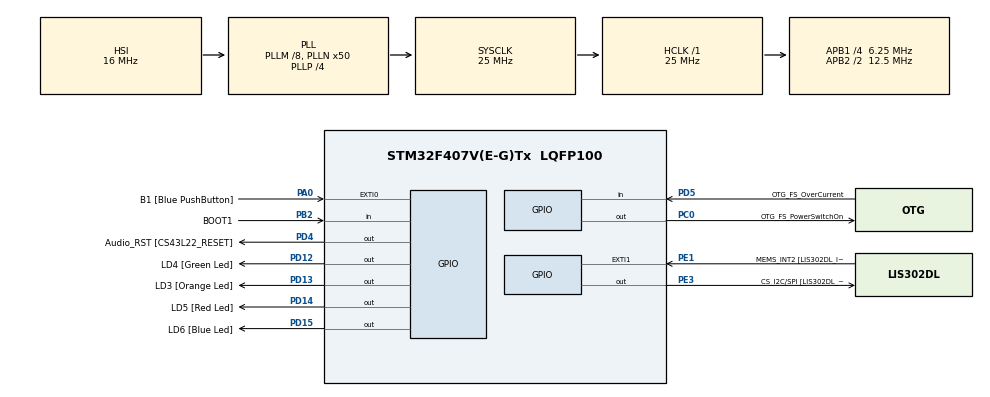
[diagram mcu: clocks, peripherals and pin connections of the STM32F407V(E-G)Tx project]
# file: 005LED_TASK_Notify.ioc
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Mcu.Family=STM32F4
Mcu.Name=STM32F407V(E-G)Tx
Mcu.Package=LQFP100
NVIC.PriorityGroup=NVIC_PRIORITYGROUP_0
NVIC.TIM6_DAC_IRQn=true\:0\:0\:false\:false\:true\:false\:true\:true
NVIC.TimeBase=TIM6_DAC_IRQn
NVIC.TimeBaseIP=TIM6
PA0-WKUP.GPIO_Label=B1 [Blue PushButton]
PA0-WKUP.Signal=GPXTI0
PA10.GPIO_Label=OTG_FS_ID
PA10.GPIO_Mode=GPIO_MODE_AF_PP
PA10.GPIO_PuPd=GPIO_NOPULL
PA10.GPIO_Speed=GPIO_SPEED_FREQ_LOW
PA10.Signal=USB_OTG_FS_ID
PA11.GPIO_Label=OTG_FS_DM
PA11.GPIO_Mode=GPIO_MODE_AF_PP
PA11.GPIO_PuPd=GPIO_NOPULL
PA11.GPIO_Speed=GPIO_SPEED_FREQ_LOW
PA11.Signal=USB_OTG_FS_DM
PA12.GPIO_Label=OTG_FS_DP
PA12.GPIO_Mode=GPIO_MODE_AF_PP
PA12.GPIO_PuPd=GPIO_NOPULL
PA12.GPIO_Speed=GPIO_SPEED_FREQ_LOW
PA12.Signal=USB_OTG_FS_DP
PA13.GPIO_Label=SWDIO
PA13.Signal=SYS_JTMS-SWDIO
PA14.GPIO_Label=SWCLK
PA14.Signal=SYS_JTCK-SWCLK
PA4.GPIO_Label=I2S3_WS [CS43L22_LRCK]
PA4.GPIO_Mode=GPIO_MODE_AF_PP
PA4.GPIO_PuPd=GPIO_NOPULL
PA4.GPIO_Speed=GPIO_SPEED_FREQ_LOW
PA4.Signal=I2S3_WS
PA5.GPIO_Label=SPI1_SCK [LIS302DL_SCL/SPC]
PA5.GPIO_Mode=GPIO_MODE_AF_PP
PA5.GPIO_PuPd=GPIO_NOPULL
PA5.GPIO_Speed=GPIO_SPEED_FREQ_LOW
PA5.Signal=SPI1_SCK
PA6.GPIO_Label=SPI1_MISO [LIS302DL_SDO]
PA6.GPIO_Mode=GPIO_MODE_AF_PP
PA6.GPIO_PuPd=GPIO_NOPULL
PA6.GPIO_Speed=GPIO_SPEED_FREQ_LOW
PA6.Signal=SPI1_MISO
PA7.GPIO_Label=SPI1_MOSI [LIS302DL_SDA/SDI/SDO]
PA7.GPIO_Mode=GPIO_MODE_AF_PP
PA7.GPIO_PuPd=GPIO_NOPULL
PA7.GPIO_Speed=GPIO_SPEED_FREQ_LOW
PA7.Signal=SPI1_MOSI
PA9.GPIO_Label=VBUS_FS
PA9.GPIO_Mode=GPIO_MODE_INPUT
PA9.GPIO_PuPd=GPIO_NOPULL
PA9.Signal=USB_OTG_FS_VBUS
PB10.GPIO_Label=CLK_IN [MP45DT02_CLK]
PB10.GPIO_Mode=GPIO_MODE_AF_PP
PB10.GPIO_PuPd=GPIO_NOPULL
PB10.GPIO_Speed=GPIO_SPEED_FREQ_LOW
PB10.Signal=I2S2_CK
PB2.GPIO_Label=BOOT1
PB2.GPIO_Mode=GPIO_MODE_INPUT
PB2.GPIO_PuPd=GPIO_NOPULL
PB2.Signal=GPIO_Input
PB3.GPIO_Label=SWO
PB3.Signal=SYS_JTDO-SWO
PB6.GPIO_Label=Audio_SCL [CS43L22_SCL]
PB6.GPIO_Mode=GPIO_MODE_AF_OD
PB6.GPIO_PuPd=GPIO_NOPULL
PB6.GPIO_Speed=GPIO_SPEED_FREQ_LOW
PB6.Signal=I2C1_SCL
PB9.GPIO_Label=Audio_SDA [CS43L22_SDA]
PB9.GPIO_Mode=GPIO_MODE_AF_OD
PB9.GPIO_PuPd=GPIO_NOPULL
PB9.GPIO_Speed=GPIO_SPEED_FREQ_LOW
PB9.Signal=I2C1_SDA
PC0.GPIO_Label=OTG_FS_PowerSwitchOn
PC0.GPIO_PuPd=GPIO_NOPULL
PC0.GPIO_Speed=GPIO_SPEED_FREQ_LOW
PC0.PinState=GPIO_PIN_SET
PC0.Signal=GPIO_Output
PC10.GPIO_Label=I2S3_SCK [CS43L22_SCLK]
PC10.GPIO_Mode=GPIO_MODE_AF_PP
PC10.GPIO_PuPd=GPIO_NOPULL
PC10.GPIO_Speed=GPIO_SPEED_FREQ_LOW
PC10.Signal=I2S3_CK
PC12.GPIO_Label=I2S3_SD [CS43L22_SDIN]
PC12.GPIO_Mode=GPIO_MODE_AF_PP
PC12.GPIO_PuPd=GPIO_NOPULL
PC12.GPIO_Speed=GPIO_SPEED_FREQ_LOW
PC12.Signal=I2S3_SD
PC14-OSC32_IN.GPIO_Label=PC14-OSC32_IN
PC14-OSC32_IN.Signal=RCC_OSC32_IN
PC15-OSC32_OUT.GPIO_Label=PC15-OSC32_OUT
PC15-OSC32_OUT.Signal=RCC_OSC32_OUT
PC3.GPIO_Label=PDM_OUT [MP45DT02_DOUT]
PC3.GPIO_Mode=GPIO_MODE_AF_PP
PC3.GPIO_PuPd=GPIO_NOPULL
PC3.GPIO_Speed=GPIO_SPEED_FREQ_LOW
PC3.Signal=I2S2_SD
PC7.GPIO_Label=I2S3_MCK [CS43L22_MCLK]
PC7.GPIO_Mode=GPIO_MODE_AF_PP
PC7.GPIO_PuPd=GPIO_NOPULL
PC7.GPIO_Speed=GPIO_SPEED_FREQ_LOW
PC7.Signal=I2S3_MCK
PD12.GPIO_Label=LD4 [Green Led]
PD12.GPIO_PuPd=GPIO_NOPULL
PD12.GPIO_Speed=GPIO_SPEED_FREQ_LOW
PD12.Signal=GPIO_Output
PD13.GPIO_Label=LD3 [Orange Led]
PD13.GPIO_PuPd=GPIO_NOPULL
PD13.GPIO_Speed=GPIO_SPEED_FREQ_LOW
PD13.Signal=GPIO_Output
PD14.GPIO_Label=LD5 [Red Led]
PD14.GPIO_PuPd=GPIO_NOPULL
PD14.GPIO_Speed=GPIO_SPEED_FREQ_LOW
PD14.Signal=GPIO_Output
PD15.GPIO_Label=LD6 [Blue Led]
PD15.GPIO_PuPd=GPIO_NOPULL
PD15.GPIO_Speed=GPIO_SPEED_FREQ_LOW
PD15.Signal=GPIO_Output
PD4.GPIO_Label=Audio_RST [CS43L22_RESET]
PD4.GPIO_PuPd=GPIO_NOPULL
PD4.GPIO_Speed=GPIO_SPEED_FREQ_LOW
PD4.Signal=GPIO_Output
PD5.GPIO_Label=OTG_FS_OverCurrent
PD5.GPIO_Mode=GPIO_MODE_INPUT
PD5.GPIO_PuPd=GPIO_NOPULL
PD5.Signal=GPIO_Input
PE1.GPIO_Label=MEMS_INT2 [LIS302DL_INT2]
PE1.GPIO_ModeDefaultEXTI=GPIO_MODE_EVT_RISING
PE1.GPIO_PuPd=GPIO_NOPULL
PE1.Signal=GPXTI1
PE3.GPIO_Label=CS_I2C/SPI [LIS302DL_CS_I2C/SPI]
PE3.GPIO_PuPd=GPIO_NOPULL
PE3.GPIO_Speed=GPIO_SPEED_FREQ_LOW
PE3.Signal=GPIO_Output
PH0-OSC_IN.GPIO_Label=PH0-OSC_IN
PH0-OSC_IN.Mode=HSE-External-Oscillator
PH0-OSC_IN.Signal=RCC_OSC_IN
PH1-OSC_OUT.GPIO_Label=PH1-OSC_OUT
PH1-OSC_OUT.Mode=HSE-External-Oscillator
PH1-OSC_OUT.Signal=RCC_OSC_OUT
ProjectManager.HeapSize=0x200
ProjectManager.StackSize=0x400
ProjectManager.TargetToolchain=STM32CubeIDE
RCC.48MHZClocksFreq_Value=14285714.285714285
RCC.AHBFreq_Value=25000000
RCC.APB1CLKDivider=RCC_HCLK_DIV4
RCC.APB1Freq_Value=6250000
RCC.APB1TimFreq_Value=12500000
RCC.APB2CLKDivider=RCC_HCLK_DIV2
RCC.APB2Freq_Value=12500000
RCC.APB2TimFreq_Value=25000000
RCC.CortexFreq_Value=25000000
RCC.HCLKFreq_Value=25000000
RCC.HSE_VALUE=8000000
RCC.HSI_VALUE=16000000
RCC.LSE_VALUE=32768
RCC.PLLM=8
RCC.PLLN=50
RCC.PLLP=RCC_PLLP_DIV4
RCC.PLLQ=7
RCC.SYSCLKFreq_VALUE=25000000
RCC.SYSCLKSource=RCC_SYSCLKSOURCE_PLLCLK
RCC.VCOOutputFreq_Value=100000000
VP_SYS_VS_tim6.Mode=TIM6
board=STM32F407G-DISC1

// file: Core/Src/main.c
/* USER CODE BEGIN Header */
/**
  ******************************************************************************
  * @file           : main.c
  * @brief          : Main program body
  ******************************************************************************
  * @attention
  *
  * Copyright (c) 2024 STMicroelectronics.
  * All rights reserved.
  *
  * This software is licensed under terms that can be found in the LICENSE file
  * in the root directory of this software component.
  * If no LICENSE file comes with this software, it is provided AS-IS.
  *
  ******************************************************************************
  */
/* USER CODE END Header */
#include "main.h"

/* USER CODE BEGIN Includes */
#include <stdio.h>
#include "FreeRTOS.h"
#include "task.h"
/* USER CODE END Includes */

/* USER CODE BEGIN PV */
#define DWT_CTRL	(*(volatile uint32_t*)0xE0001000)
/* USER CODE END PV */

void SystemClock_Config(void);
static void MX_GPIO_Init(void);
/* USER CODE BEGIN PFP */
static void led_green_handler(void *parameters);
static void led_orange_handler(void *parameters);
static void led_red_handler(void *parameters);
static void button_handler(void *parameters);

TaskHandle_t ledg_task_handle;
TaskHandle_t ledo_task_handle;
TaskHandle_t ledr_task_handle;
TaskHandle_t btn_task_handle;

BaseType_t status;
TaskHandle_t volatile next_task_handle = NULL;

/* USER CODE END PFP */

int main(void)
{

  /* MCU Configuration--------------------------------------------------------*/

  /* Reset of all peripherals, Initializes the Flash interface and the Systick. */
  HAL_Init();

  /* Configure the system clock */
  SystemClock_Config();

  /* Initialize all configured peripherals */
  MX_GPIO_Init();
  /* USER CODE BEGIN 2 */

  DWT_CTRL |= (1 << 0);

  status = xTaskCreate(led_green_handler, "LED_green_task",200,NULL,3,&ledg_task_handle);

  configASSERT(status == pdPASS);

  next_task_handle=ledg_task_handle;

  status = xTaskCreate(led_orange_handler, "LED_orange_task",200,NULL,2,&ledo_task_handle);

  configASSERT(status == pdPASS);

  status = xTaskCreate(led_red_handler, "LED_red_task",200,NULL,1,&ledr_task_handle);

  configASSERT(status == pdPASS);

  status = xTaskCreate(button_handler, "Button Task",200,NULL,4,&btn_task_handle);

   configASSERT(status == pdPASS);

  //start the freeRTOS scheduler

   vTaskStartScheduler();

  /* USER CODE END 2 */

  /* Infinite loop */
  while (1)
  {

  }
}

void SystemClock_Config(void)
{
  RCC_OscInitTypeDef RCC_OscInitStruct = {0};
  RCC_ClkInitTypeDef RCC_ClkInitStruct = {0};

  /** Configure the main internal regulator output voltage
  */
  __HAL_RCC_PWR_CLK_ENABLE();
  __HAL_PWR_VOLTAGESCALING_CONFIG(PWR_REGULATOR_VOLTAGE_SCALE1);

  /** Initializes the RCC Oscillators according to the specified parameters
  * in the RCC_OscInitTypeDef structure.
  */
  RCC_OscInitStruct.OscillatorType = RCC_OSCILLATORTYPE_HSI;
  RCC_OscInitStruct.HSIState = RCC_HSI_ON;
  RCC_OscInitStruct.HSICalibrationValue = RCC_HSICALIBRATION_DEFAULT;
  RCC_OscInitStruct.PLL.PLLState = RCC_PLL_ON;
  RCC_OscInitStruct.PLL.PLLSource = RCC_PLLSOURCE_HSI;
  RCC_OscInitStruct.PLL.PLLM = 8;
  RCC_OscInitStruct.PLL.PLLN = 50;
  RCC_OscInitStruct.PLL.PLLP = RCC_PLLP_DIV4;
  RCC_OscInitStruct.PLL.PLLQ = 7;
  if (HAL_RCC_OscConfig(&RCC_OscInitStruct) != HAL_OK)
  {
    Error_Handler();
  }

  /** Initializes the CPU, AHB and APB buses clocks
  */
  RCC_ClkInitStruct.ClockType = RCC_CLOCKTYPE_HCLK|RCC_CLOCKTYPE_SYSCLK
                              |RCC_CLOCKTYPE_PCLK1|RCC_CLOCKTYPE_PCLK2;
  RCC_ClkInitStruct.SYSCLKSource = RCC_SYSCLKSOURCE_PLLCLK;
  RCC_ClkInitStruct.AHBCLKDivider = RCC_SYSCLK_DIV1;
  RCC_ClkInitStruct.APB1CLKDivider = RCC_HCLK_DIV4;
  RCC_ClkInitStruct.APB2CLKDivider = RCC_HCLK_DIV2;

  if (HAL_RCC_ClockConfig(&RCC_ClkInitStruct, FLASH_LATENCY_0) != HAL_OK)
  {
    Error_Handler();
  }
}

static void MX_GPIO_Init(void)
{
  GPIO_InitTypeDef GPIO_InitStruct = {0};

  /* GPIO Ports Clock Enable */
  __HAL_RCC_GPIOE_CLK_ENABLE();
  __HAL_RCC_GPIOC_CLK_ENABLE();
  __HAL_RCC_GPIOH_CLK_ENABLE();
  __HAL_RCC_GPIOA_CLK_ENABLE();
  __HAL_RCC_GPIOB_CLK_ENABLE();
  __HAL_RCC_GPIOD_CLK_ENABLE();

  /*Configure GPIO pin Output Level */
  HAL_GPIO_WritePin(CS_I2C_SPI_GPIO_Port, CS_I2C_SPI_Pin, GPIO_PIN_RESET);

  /*Configure GPIO pin Output Level */
  HAL_GPIO_WritePin(OTG_FS_PowerSwitchOn_GPIO_Port, OTG_FS_PowerSwitchOn_Pin, GPIO_PIN_SET);

  /*Configure GPIO pin Output Level */
  HAL_GPIO_WritePin(GPIOD, LD4_Pin|LD3_Pin|LD5_Pin|LD6_Pin
                          |Audio_RST_Pin, GPIO_PIN_RESET);

  /*Configure GPIO pin : CS_I2C_SPI_Pin */
  GPIO_InitStruct.Pin = CS_I2C_SPI_Pin;
  GPIO_InitStruct.Mode = GPIO_MODE_OUTPUT_PP;
  GPIO_InitStruct.Pull = GPIO_NOPULL;
  GPIO_InitStruct.Speed = GPIO_SPEED_FREQ_LOW;
  HAL_GPIO_Init(CS_I2C_SPI_GPIO_Port, &GPIO_InitStruct);

  /*Configure GPIO pin : OTG_FS_PowerSwitchOn_Pin */
  GPIO_InitStruct.Pin = OTG_FS_PowerSwitchOn_Pin;
  GPIO_InitStruct.Mode = GPIO_MODE_OUTPUT_PP;
  GPIO_InitStruct.Pull = GPIO_NOPULL;
  GPIO_InitStruct.Speed = GPIO_SPEED_FREQ_LOW;
  HAL_GPIO_Init(OTG_FS_PowerSwitchOn_GPIO_Port, &GPIO_InitStruct);

  /*Configure GPIO pin : PDM_OUT_Pin */
  GPIO_InitStruct.Pin = PDM_OUT_Pin;
  GPIO_InitStruct.Mode = GPIO_MODE_AF_PP;
  GPIO_InitStruct.Pull = GPIO_NOPULL;
  GPIO_InitStruct.Speed = GPIO_SPEED_FREQ_LOW;
  GPIO_InitStruct.Alternate = GPIO_AF5_SPI2;
  HAL_GPIO_Init(PDM_OUT_GPIO_Port, &GPIO_InitStruct);

  /*Configure GPIO pin : B1_Pin */
  GPIO_InitStruct.Pin = B1_Pin;
  GPIO_InitStruct.Mode = GPIO_MODE_IT_RISING;
  GPIO_InitStruct.Pull = GPIO_NOPULL;
  HAL_GPIO_Init(B1_GPIO_Port, &GPIO_InitStruct);

  /*Configure GPIO pin : I2S3_WS_Pin */
  GPIO_InitStruct.Pin = I2S3_WS_Pin;
  GPIO_InitStruct.Mode = GPIO_MODE_AF_PP;
  GPIO_InitStruct.Pull = GPIO_NOPULL;
  GPIO_InitStruct.Speed = GPIO_SPEED_FREQ_LOW;
  GPIO_InitStruct.Alternate = GPIO_AF6_SPI3;
  HAL_GPIO_Init(I2S3_WS_GPIO_Port, &GPIO_InitStruct);

  /*Configure GPIO pins : SPI1_SCK_Pin SPI1_MISO_Pin SPI1_MOSI_Pin */
  GPIO_InitStruct.Pin = SPI1_SCK_Pin|SPI1_MISO_Pin|SPI1_MOSI_Pin;
  GPIO_InitStruct.Mode = GPIO_MODE_AF_PP;
  GPIO_InitStruct.Pull = GPIO_NOPULL;
  GPIO_InitStruct.Speed = GPIO_SPEED_FREQ_LOW;
  GPIO_InitStruct.Alternate = GPIO_AF5_SPI1;
  HAL_GPIO_Init(GPIOA, &GPIO_InitStruct);

  /*Configure GPIO pin : BOOT1_Pin */
  GPIO_InitStruct.Pin = BOOT1_Pin;
  GPIO_InitStruct.Mode = GPIO_MODE_INPUT;
  GPIO_InitStruct.Pull = GPIO_NOPULL;
  HAL_GPIO_Init(BOOT1_GPIO_Port, &GPIO_InitStruct);

  /*Configure GPIO pin : CLK_IN_Pin */
  GPIO_InitStruct.Pin = CLK_IN_Pin;
  GPIO_InitStruct.Mode = GPIO_MODE_AF_PP;
  GPIO_InitStruct.Pull = GPIO_NOPULL;
  GPIO_InitStruct.Speed = GPIO_SPEED_FREQ_LOW;
  GPIO_InitStruct.Alternate = GPIO_AF5_SPI2;
  HAL_GPIO_Init(CLK_IN_GPIO_Port, &GPIO_InitStruct);

  /*Configure GPIO pins : LD4_Pin LD3_Pin LD5_Pin LD6_Pin
                           Audio_RST_Pin */
  GPIO_InitStruct.Pin = LD4_Pin|LD3_Pin|LD5_Pin|LD6_Pin
                          |Audio_RST_Pin;
  GPIO_InitStruct.Mode = GPIO_MODE_OUTPUT_PP;
  GPIO_InitStruct.Pull = GPIO_NOPULL;
  GPIO_InitStruct.Speed = GPIO_SPEED_FREQ_LOW;
  HAL_GPIO_Init(GPIOD, &GPIO_InitStruct);

  /*Configure GPIO pins : I2S3_MCK_Pin I2S3_SCK_Pin I2S3_SD_Pin */
  GPIO_InitStruct.Pin = I2S3_MCK_Pin|I2S3_SCK_Pin|I2S3_SD_Pin;
  GPIO_InitStruct.Mode = GPIO_MODE_AF_PP;
  GPIO_InitStruct.Pull = GPIO_NOPULL;
  GPIO_InitStruct.Speed = GPIO_SPEED_FREQ_LOW;
  GPIO_InitStruct.Alternate = GPIO_AF6_SPI3;
  HAL_GPIO_Init(GPIOC, &GPIO_InitStruct);

  /*Configure GPIO pin : VBUS_FS_Pin */
  GPIO_InitStruct.Pin = VBUS_FS_Pin;
  GPIO_InitStruct.Mode = GPIO_MODE_INPUT;
  GPIO_InitStruct.Pull = GPIO_NOPULL;
  HAL_GPIO_Init(VBUS_FS_GPIO_Port, &GPIO_InitStruct);

  /*Configure GPIO pins : OTG_FS_ID_Pin OTG_FS_DM_Pin OTG_FS_DP_Pin */
  GPIO_InitStruct.Pin = OTG_FS_ID_Pin|OTG_FS_DM_Pin|OTG_FS_DP_Pin;
  GPIO_InitStruct.Mode = GPIO_MODE_AF_PP;
  GPIO_InitStruct.Pull = GPIO_NOPULL;
  GPIO_InitStruct.Speed = GPIO_SPEED_FREQ_LOW;
  GPIO_InitStruct.Alternate = GPIO_AF10_OTG_FS;
  HAL_GPIO_Init(GPIOA, &GPIO_InitStruct);

  /*Configure GPIO pin : OTG_FS_OverCurrent_Pin */
  GPIO_InitStruct.Pin = OTG_FS_OverCurrent_Pin;
  GPIO_InitStruct.Mode = GPIO_MODE_INPUT;
  GPIO_InitStruct.Pull = GPIO_NOPULL;
  HAL_GPIO_Init(OTG_FS_OverCurrent_GPIO_Port, &GPIO_InitStruct);

  /*Configure GPIO pins : Audio_SCL_Pin Audio_SDA_Pin */
  GPIO_InitStruct.Pin = Audio_SCL_Pin|Audio_SDA_Pin;
  GPIO_InitStruct.Mode = GPIO_MODE_AF_OD;
  GPIO_InitStruct.Pull = GPIO_NOPULL;
  GPIO_InitStruct.Speed = GPIO_SPEED_FREQ_LOW;
  GPIO_InitStruct.Alternate = GPIO_AF4_I2C1;
  HAL_GPIO_Init(GPIOB, &GPIO_InitStruct);

  /*Configure GPIO pin : MEMS_INT2_Pin */
  GPIO_InitStruct.Pin = MEMS_INT2_Pin;
  GPIO_InitStruct.Mode = GPIO_MODE_EVT_RISING;
  GPIO_InitStruct.Pull = GPIO_NOPULL;
  HAL_GPIO_Init(MEMS_INT2_GPIO_Port, &GPIO_InitStruct);

}

/* USER CODE BEGIN 4 */
static void led_green_handler(void *parameters)
{

	BaseType_t status;
	while(1){
		HAL_GPIO_TogglePin(GPIOD, LD4_Pin);
		status=xTaskNotifyWait(0,0,NULL,pdMS_TO_TICKS(1000));

		if(status==pdTRUE){
			vTaskSuspendAll();
			next_task_handle=ledo_task_handle;
			xTaskResumeAll();
			HAL_GPIO_WritePin(GPIOD, LD4_Pin, GPIO_PIN_SET);
			vTaskDelete(NULL);

		}
	}
}

static void led_orange_handler(void *parameters)
{
	BaseType_t status;
	while(1){
		HAL_GPIO_TogglePin(GPIOD, LD3_Pin);
		status=xTaskNotifyWait(0,0,NULL,pdMS_TO_TICKS(800));

				if(status==pdTRUE){
					next_task_handle=ledr_task_handle;
					HAL_GPIO_WritePin(GPIOD, LD3_Pin, GPIO_PIN_SET);
					vTaskDelete(NULL);

				}
	}
}

static void led_red_handler(void *parameters)
{

	BaseType_t status;
	while(1){
		HAL_GPIO_TogglePin(GPIOD, LD5_Pin);
		status=xTaskNotifyWait(0,0,NULL,pdMS_TO_TICKS(400));

				if(status==pdTRUE){
					vTaskSuspendAll();
					next_task_handle=NULL;
					xTaskResumeAll();
					HAL_GPIO_WritePin(GPIOD, LD5_Pin, GPIO_PIN_SET);
					vTaskDelete(btn_task_handle);
					vTaskDelete(NULL);

				}
	}
}

static void button_handler(void *parameters)
{
	uint8_t btn_read=0;
	uint8_t prev_read=0;

	while(1){
		btn_read= HAL_GPIO_ReadPin(GPIOA,GPIO_PIN_0);

		if(btn_read)
		{
			if(! prev_read)
				xTaskNotify(next_task_handle,0,eNoAction);

		}
		prev_read = btn_read;
		vTaskDelay(pdMS_TO_TICKS(10));

	}

}

/* USER CODE END 4 */

void HAL_TIM_PeriodElapsedCallback(TIM_HandleTypeDef *htim)
{
  if (htim->Instance == TIM6) {
    HAL_IncTick();
  }
}

void Error_Handler(void)
{
  __disable_irq();
  while (1)
  {
  }
}
